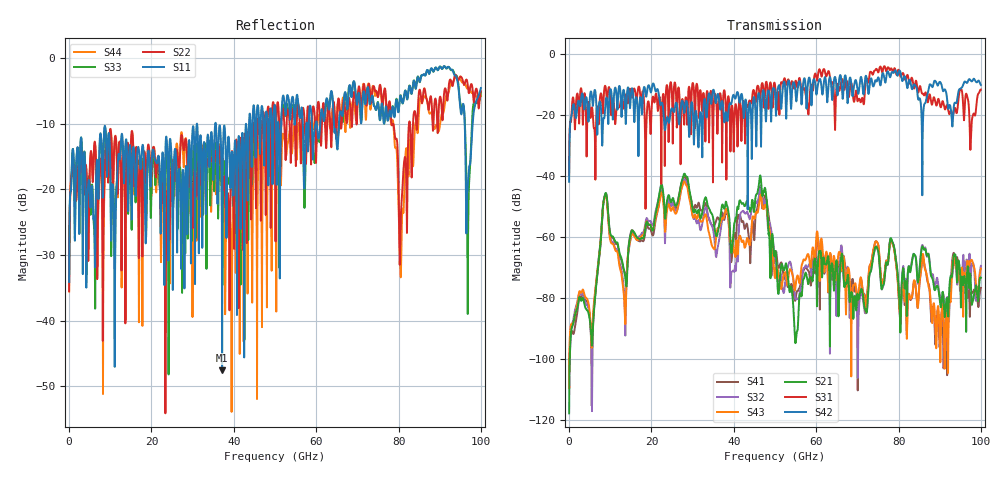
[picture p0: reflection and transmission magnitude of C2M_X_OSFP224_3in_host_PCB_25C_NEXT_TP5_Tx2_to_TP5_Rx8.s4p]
# GHz S RI R 45
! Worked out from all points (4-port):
!   4000 points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, 25 MHz to 100 GHz, reference 45 ohm
!   strongest paths, dB at 25 MHz, 25.02 GHz, 50.02 GHz, 75.03 GHz, 100 GHz:
!     S42: -41.8, -17.7, -13.0, -7.6, -10.1
!     S31: -39.7, -14.6, -10.1, -5.9, -11.6
!     S21: -117.8, -47.7, -64.6, -64.3, -73.3
!     S43: -106.1, -50.6, -73.4, -62.3, -70.3
!     S32: -104.1, -49.0, -67.3, -64.4, -69.4
!     S41: -100.1, -49.1, -66.1, -62.2, -76.6
!   lowest |S11| = -47.6 dB at 37.17 GHz (marker M1), VSWR 1.01, Z = 45.4 - j0.133 ohm
!   |S11| at or under -10 dB: start of sweep to 31.03 GHz; 31.1 GHz to 35.5 GHz (4.396 GHz wide, 13.2 % of centre); 35.65 GHz to 42.96 GHz (7.31 GHz wide, 18.6 % of centre)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
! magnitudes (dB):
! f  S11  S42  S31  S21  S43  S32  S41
! 25 MHz  -34.1  -41.8  -39.7  -117.8  -106.1  -104.1  -100.1
! 8.775 GHz  -10.4  -17.6  -10.3  -45.8  -46.2  -46.1  -46.0
! 13.45 GHz  -17.6  -13.0  -16.6  -71.4  -81.6  -80.1  -71.2
! 22.3 GHz  -25.9  -16.5  -21.9  -43.0  -45.6  -43.4  -45.2
! 37.17 GHz  -47.6  -15.3  -35.5  -49.4  -53.7  -54.3  -51.9
! 54.77 GHz  -10.1  -9.9  -10.4  -90.8  -77.3  -78.4  -80.5
! 100 GHz  -4.5  -10.1  -11.6  -73.3  -70.3  -69.4  -76.6
